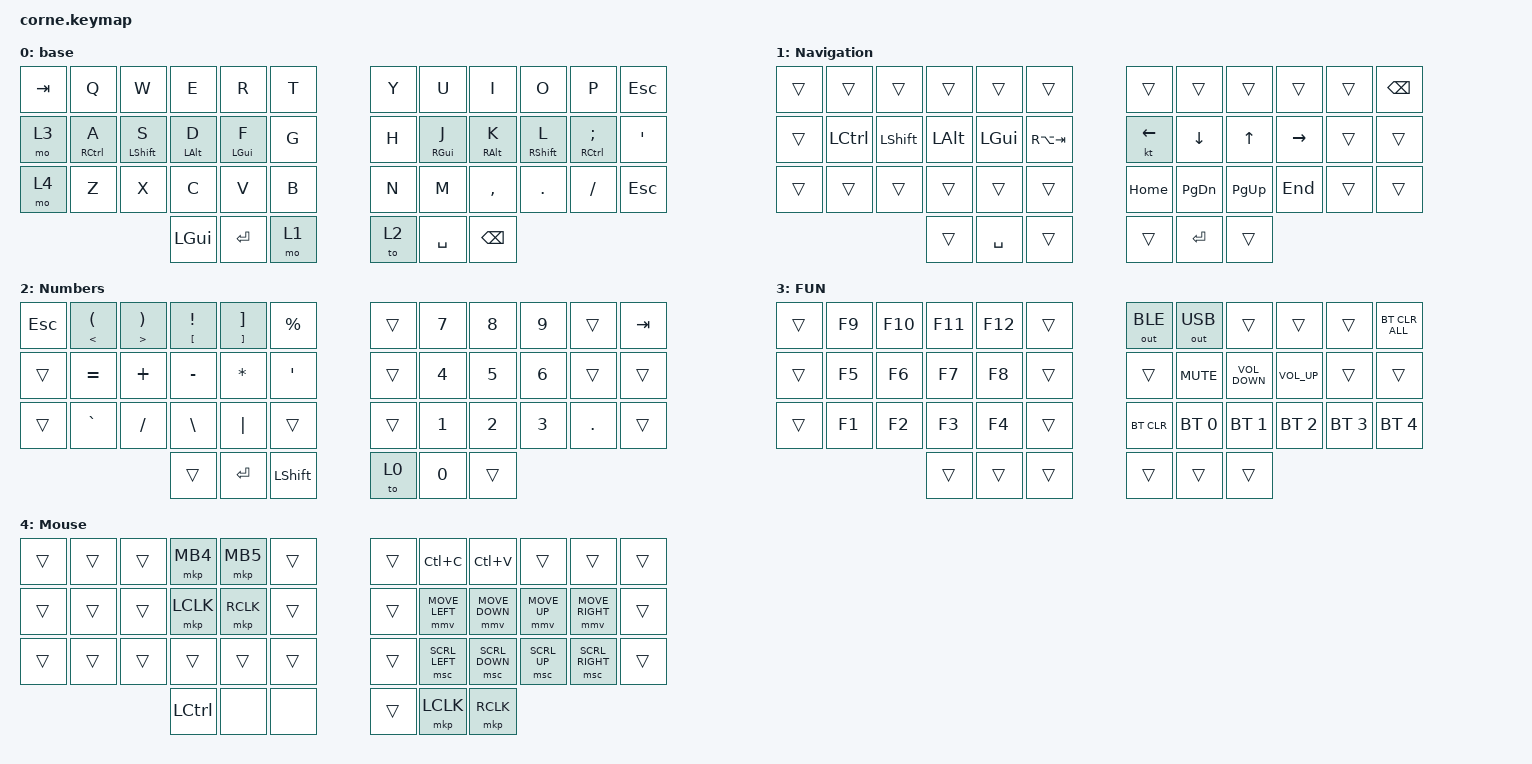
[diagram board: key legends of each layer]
/*
 * Copyright (c) 2020 The ZMK Contributors
 *
 * SPDX-License-Identifier: MIT
 */

#include <behaviors.dtsi>
#include <dt-bindings/zmk/bt.h>
#include <dt-bindings/zmk/keys.h>
#include <dt-bindings/zmk/outputs.h>
#include <dt-bindings/zmk/pointing.h>

/ {
    behaviors {
        hm: hm {
            compatible = "zmk,behavior-hold-tap";
            label = "HM";
            bindings = <&kp>, <&kp>;

            #binding-cells = <2>;
            tapping-term-ms = <200>;
        };
    };

    keymap {
        compatible = "zmk,keymap";

        base {
            display-name = "base";

            // -----------------------------------------------------------------------------------------
            // |  TAB |  Q  |  W  |  E  |  R  |  T  |   |  Y  |  U   |  I  |  O  |  P  | BSPC |
            // | CTRL |  A  |  S  |  D  |  F  |  G  |   |  H  |  J   |  K  |  L  |  ;  |  '   |
            // | SHFT |  Z  |  X  |  C  |  V  |  B  |   |  N  |  M   |  ,  |  .  |  /  | ESC  |
            //                    | GUI | LWR | SPC |   | ENT | RSE  | ALT |

            bindings = <
&kp TAB  &kp Q        &kp W        &kp E       &kp R       &kp T    &kp Y  &kp U       &kp I          &kp O        &kp P                &kp ESCAPE
&mo 3    &hm RCTRL A  &hm LSHFT S  &hm LALT D  &hm LGUI F  &kp G    &kp H  &hm RGUI J  &hm RALT K     &hm RSHFT L  &hm RCTRL SEMICOLON  &kp SQT
&mo 4    &kp Z        &kp X        &kp C       &kp V       &kp B    &kp N  &kp M       &kp COMMA      &kp DOT      &kp FSLH             &kp ESC
                                   &kp LGUI    &kp ENTER   &mo 1    &to 2  &kp SPACE   &kp BACKSPACE
            >;
        };

        NAV {
            display-name = "Navigation";

            // -----------------------------------------------------------------------------------------
            // |  TAB |  1  |  2  |  3  |  4  |  5  |   |  6  |  7  |  8  |  9  |  0  | BSPC |
            // | BTCLR| BT1 | BT2 | BT3 | BT4 | BT5 |   | LFT | DWN |  UP | RGT |     |      |
            // | SHFT |     |     |     |     |     |   |     |     |     |     |     |      |
            //                    | GUI |     | SPC |   | ENT |     | ALT |

            bindings = <
&trans  &trans     &trans     &trans    &trans     &trans         &trans    &trans         &trans       &trans     &trans  &kp BSPC
&trans  &kp LCTRL  &kp LSHFT  &kp LALT  &kp LGUI   &kp RA(TAB)    &kt LEFT  &kp DOWN       &kp UP       &kp RIGHT  &trans  &trans
&trans  &trans     &trans     &trans    &trans     &trans         &kp HOME  &kp PAGE_DOWN  &kp PAGE_UP  &kp END    &trans  &trans
                              &trans    &kp SPACE  &trans         &trans    &kp ENTER      &trans
            >;
        };

        NUM {
            display-name = "Numbers";

            // -----------------------------------------------------------------------------------------
            // |  TAB |  !  |  @  |  #  |  $  |  %  |   |  ^  |  &  |  *  |  (  |  )  | BSPC |
            // | CTRL |     |     |     |     |     |   |  -  |  =  |  [  |  ]  |  \  |  `   |
            // | SHFT |     |     |     |     |     |   |  _  |  +  |  {  |  }  | "|" |  ~   |
            //                    | GUI |     | SPC |   | ENT |     | ALT |

            bindings = <
&kp ESCAPE  &hm LESS_THAN LEFT_PARENTHESIS  &hm GREATER_THAN RIGHT_PARENTHESIS  &hm LEFT_BRACKET EXCL  &hm RIGHT_BRACKET RIGHT_BRACKET  &kp PRCNT         &trans  &kp N7        &kp N8        &kp N9        &trans      &kp TAB
&trans      &kp EQUAL                       &kp PLUS                            &kp MINUS              &kp ASTERISK                     &kp SQT           &trans  &kp NUMBER_4  &kp N5        &kp NUMBER_6  &trans      &trans
&trans      &kp GRAVE                       &kp SLASH                           &kp BACKSLASH          &kp PIPE                         &trans            &trans  &kp NUMBER_1  &kp NUMBER_2  &kp NUMBER_3  &kp PERIOD  &trans
                                                                                &trans                 &kp ENTER                        &kp LEFT_SHIFT    &to 0   &kp N0        &trans
            >;
        };

        FUN {
            bindings = <
&trans  &kp F9  &kp F10  &kp F11  &kp F12  &trans    &out OUT_BLE  &out OUT_USB  &trans             &trans           &trans        &bt BT_CLR_ALL
&trans  &kp F5  &kp F6   &kp F7   &kp F8   &trans    &trans        &kp K_MUTE    &kp C_VOLUME_DOWN  &kp C_VOLUME_UP  &trans        &trans
&trans  &kp F1  &kp F2   &kp F3   &kp F4   &trans    &bt BT_CLR    &bt BT_SEL 0  &bt BT_SEL 1       &bt BT_SEL 2     &bt BT_SEL 3  &bt BT_SEL 4
                         &trans   &trans   &trans    &trans        &trans        &trans
            >;
        };

        Mouse {
            bindings = <
&trans  &trans  &trans  &mkp MB4   &mkp MB5   &trans    &trans  &kp LC(C)       &kp LC(V)       &trans        &trans           &trans
&trans  &trans  &trans  &mkp LCLK  &mkp RCLK  &trans    &trans  &mmv MOVE_LEFT  &mmv MOVE_DOWN  &mmv MOVE_UP  &mmv MOVE_RIGHT  &trans
&trans  &trans  &trans  &trans     &trans     &trans    &trans  &msc SCRL_LEFT  &msc SCRL_DOWN  &msc SCRL_UP  &msc SCRL_RIGHT  &trans
                        &kp LCTRL  &none      &none     &trans  &mkp LCLK       &mkp RCLK
            >;
        };
    };
};
